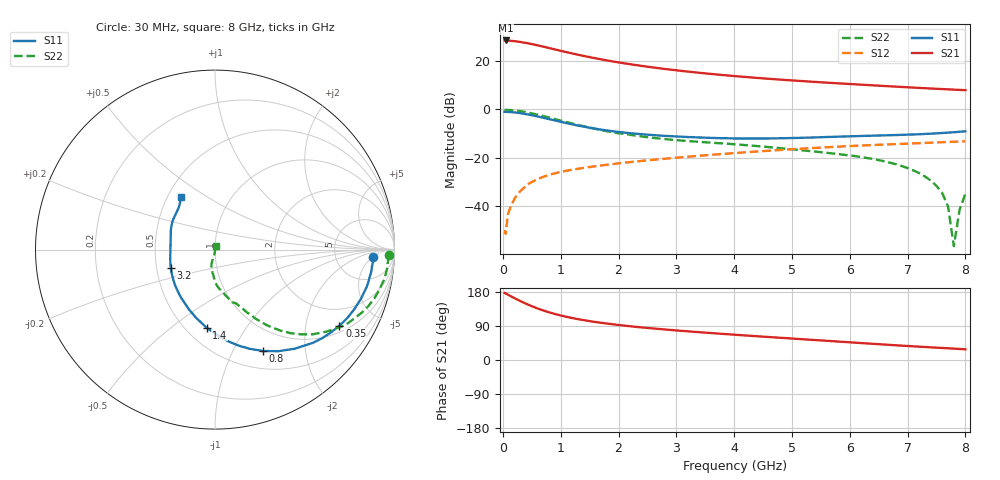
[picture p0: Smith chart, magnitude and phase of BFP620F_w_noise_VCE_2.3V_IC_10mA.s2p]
! Infineon Technologies  Discrete & RF Semiconductors
! BFP620F
! VCE =  2.3 V,  IC =  10 mA
! Common Emitter S-Parameters:  Dec 2014
# GHz  S  MA  R  50
!  f  S11  S21  S12  S22
! GHz  MAG  ANG  MAG  ANG  MAG  ANG  MAG  ANG
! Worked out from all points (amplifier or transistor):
!   95 points, 30 MHz to 8 GHz, reference 50 ohm
!   highest |S21| = 28.3 dB at 50 MHz (marker M1)
!   |S21| within 3 dB of that: start of sweep to 777.3 MHz
!   unconditionally stable (mu >= 1): 3.848 GHz to end of sweep
!   at 300 MHz: K = 0.22, MSG = 30.8 dB, |S12| = -33.9 dB
!   at 3.3 GHz: K = 0.97, MSG = 17.3 dB, |S12| = -19.4 dB
!   at 8 GHz: K = 1.09, MAG = 8.7 dB, |S12| = -13.2 dB
!   lowest NFmin = 0.60 dB at 450 MHz
!   S11 on the Smith chart (normalised r, x): 30 MHz: 14, -5; 350 MHz: 1.24, -3.09; 800 MHz: 0.71, -1.32; 1.4 GHz: 0.63, -0.68; 3.2 GHz: 0.59, -0.13; 8 GHz: 0.58, +0.39
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0.03  0.884 -2.7  26.14 176.9  0.0027 50.1  0.9677 -1.9
0.05  0.8825 -4.7  26.15 175.3  0.0027 68.1  0.967 -3.3
0.13  0.8727 -12.1  25.82 168.9  0.0095 75.6  0.9582 -8.9
0.2  0.8585 -18.5  25.24 163.4  0.0141 75.1  0.9428 -13.7
0.35  0.8125 -31.5  23.77 152.1  0.0232 70.8  0.8907 -23.2
0.45  0.7739 -39.7  22.63 145.3  0.0292 68.4  0.8464 -29.0
0.6  0.7089 -51.2  20.75 136.0  0.0364 64.6  0.7705 -36.4
0.8  0.6253 -64.6  18.23 125.8  0.0444 60.2  0.6725 -44.6
1  0.5505 -76.3  16 117.5  0.0509 57.5  0.584 -50.8
1.1  0.5172 -81.6  14.99 114.0  0.0539 56.3  0.5435 -53.4
1.4  0.4375 -96.2  12.53 105.2  0.062 54.1  0.4452 -59.6
1.6  0.3963 -105.0  11.22 100.3  0.0667 53.3  0.3934 -63.0
1.9  0.3508 -116.9  9.666 94.3  0.0738 52.3  0.3334 -67.5
2.7  0.2873 -143.7  7.001 81.9  0.0928 50.0  0.2491 -78.6
3.2  0.2666 -157.0  5.96 75.7  0.1049 48.7  0.2206 -83.4
4.1  0.2491 -177.1  4.72 65.7  0.1268 45.7  0.1857 -88.8
5.4  0.2622 160.1  3.652 52.6  0.1593 39.7  0.1337 -95.4
6.7  0.2911 140.8  2.963 39.8  0.1889 32.4  0.0787 -103.6
7.6  0.3229 127.3  2.601 31.7  0.2087 27.6  0.0186 -95.2
7.7  0.329 126.1  2.567 30.9  0.211 27.0  0.0099 -92.4
7.8  0.3352 125.0  2.533 30.0  0.2133 26.4  0.0015 -55.9
8  0.3501 123.0  2.469 28.2  0.2178 25.1  0.0181 78.4
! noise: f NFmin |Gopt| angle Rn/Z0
0.45  0.6  0.26  8  0.22
0.9  0.67  0.25  19  0.19
1.5  0.73  0.24  21  0.15
1.8  0.75  0.22  24  0.13
1.9  0.76  0.18  38  0.15
2.4  0.81  0.15  54  0.13
3.5  0.91  0.14  75  0.12
5.5  1.08  0.11  178  0.1
6  1.12  0.1  207  0.16
